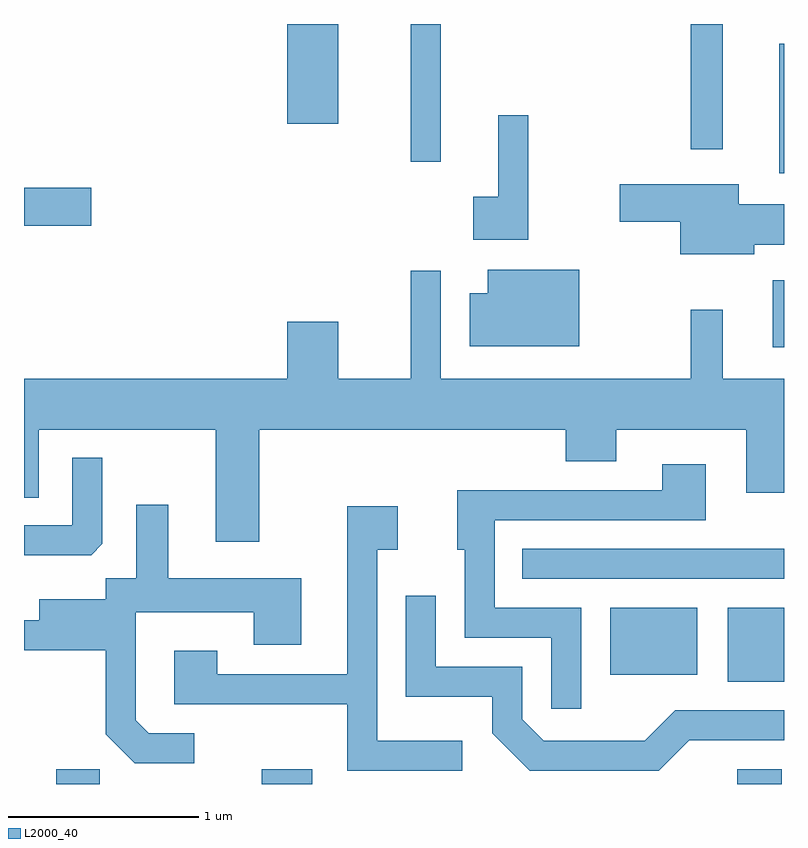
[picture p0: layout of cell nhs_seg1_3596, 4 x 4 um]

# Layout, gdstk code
import gdstk
lib = gdstk.Library(unit=1e-6, precision=1e-09)
def R(c, l, rs):  # rectangles x0, y0, x1, y1
    for r in rs: c.add(gdstk.rectangle(r[:2], r[2:], *l))
def P(c, l, *ps):  # polygons
    for p in ps: c.add(gdstk.Polygon(p, *l))
L2000_40 = (2000, 40)

nhs_seg1_3596 = lib.new_cell('nhs_seg1_3596')
R(nhs_seg1_3596, L2000_40, [(293.781,897.712,294.009,897.789), (294.861,897.712,295.129,897.789), (297.366,897.712,297.599,897.789), (297.316,898.251,297.611,898.639), (296.696,898.286,297.154,898.639), (296.233,898.791,297.611,898.949), (297.551,900.011,297.611,900.364), (293.611,900.651,293.964,900.849), (297.586,900.926,297.611,901.608), (295.646,900.988,295.804,901.712), (297.121,901.053,297.289,901.712), (294.996,901.186,295.264,901.712)])
P(nhs_seg1_3596, L2000_40, [(296.264,901.233),(296.106,901.233),(296.106,900.804),(295.976,900.804),(295.976,900.576),(296.264,900.576)],
  [(297.454,900.551),(297.611,900.551),(297.611,900.764),(297.374,900.764),(297.374,900.869),(296.746,900.869),(296.746,900.671),(297.066,900.671),(297.066,900.501),(297.454,900.501)],
  [(296.534,900.419),(296.051,900.419),(296.051,900.294),(295.956,900.294),(295.956,900.016),(296.534,900.016)],
  [(294.849,899.576),(296.461,899.576),(296.461,899.411),(296.729,899.411),(296.729,899.576),(297.411,899.576),(297.411,899.246),(297.611,899.246),(297.611,899.844),(297.289,899.844),(297.289,900.208),(297.121,900.208),(297.121,899.844),(295.804,899.844),(295.804,900.413),(295.646,900.413),(295.646,899.844),(295.264,899.844),(295.264,900.144),(294.996,900.144),(294.996,899.844),(293.611,899.844),(293.611,899.218),(293.689,899.218),(293.689,899.576),(294.621,899.576),(294.621,898.986),(294.849,898.986)],
  [(294.024,898.977),(294.024,899.428),(293.866,899.428),(293.866,899.074),(293.611,899.074),(293.611,898.916),(293.964,898.916)],
  [(296.544,898.639),(296.089,898.639),(296.089,899.101),(297.199,899.101),(297.199,899.394),(296.971,899.394),(296.971,899.259),(295.891,899.259),(295.891,898.946),(295.931,898.946),(295.931,898.481),(296.386,898.481),(296.386,898.108),(296.544,898.108)],
  [(294.508,897.979),(294.267,897.979),(294.199,898.047),(294.199,898.616),(294.821,898.616),(294.821,898.446),(295.069,898.446),(295.069,898.794),(294.369,898.794),(294.369,899.183),(294.201,899.183),(294.201,898.794),(294.041,898.794),(294.041,898.684),(293.691,898.684),(293.691,898.574),(293.611,898.574),(293.611,898.416),(294.041,898.416),(294.041,897.974),(294.194,897.821),(294.508,897.821)],
  [(295.918,897.939),(295.469,897.939),(295.469,898.946),(295.579,898.946),(295.579,899.174),(295.311,899.174),(295.311,898.289),(294.629,898.289),(294.629,898.414),(294.401,898.414),(294.401,898.131),(295.311,898.131),(295.311,897.781),(295.918,897.781)],
  [(297.112,897.941),(297.611,897.941),(297.611,898.099),(297.039,898.099),(296.879,897.939),(296.347,897.939),(296.234,898.052),(296.234,898.329),(295.779,898.329),(295.779,898.703),(295.621,898.703),(295.621,898.171),(296.076,898.171),(296.076,897.979),(296.274,897.781),(296.952,897.781)])

lib.write_gds('nhs_seg1_3596.gds')
